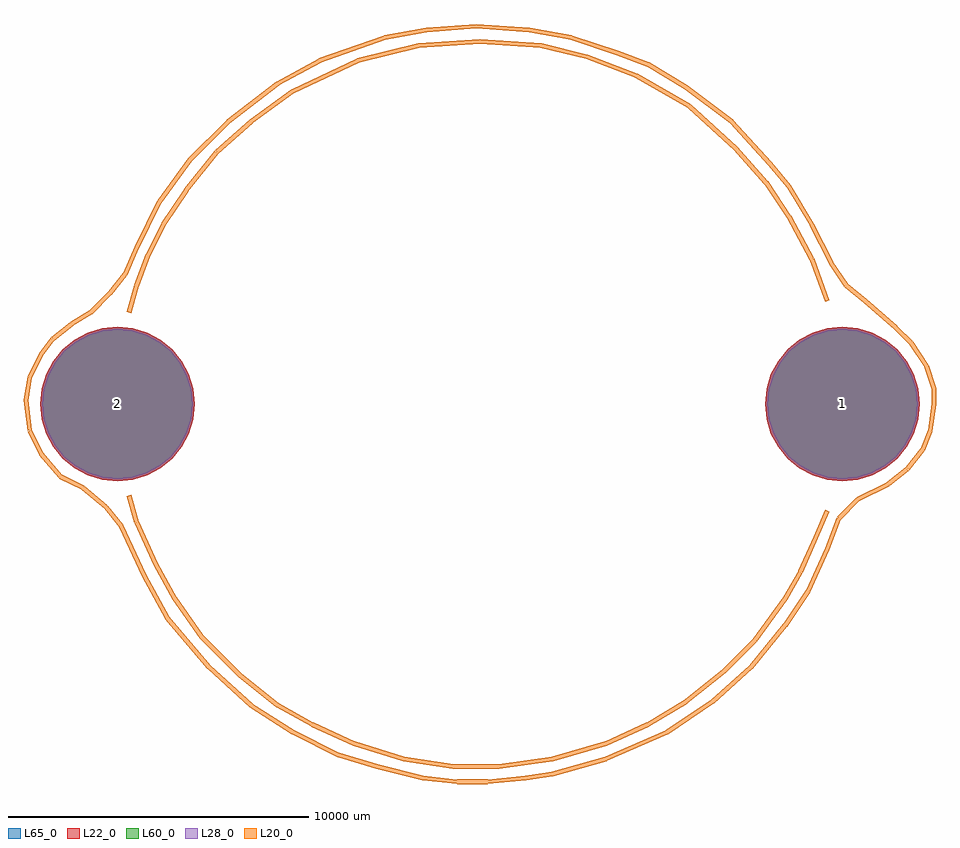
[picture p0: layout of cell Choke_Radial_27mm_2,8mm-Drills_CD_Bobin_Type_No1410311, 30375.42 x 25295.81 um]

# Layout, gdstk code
import gdstk
lib = gdstk.Library(unit=1e-6, precision=1e-09)
def P(c, l, *ps):  # polygons
    for p in ps: c.add(gdstk.Polygon(p, *l))
L20_0 = (20, 0)
L22_0 = (22, 0)
L28_0 = (28, 0)
L60_0 = (60, 0)
L65_0 = (65, 0)

choke_radial_27mm_2_8mm_ = lib.new_cell('Choke_Radial_27mm_2,8mm-Drills_CD_Bobin_Type_No1410311')
P(choke_radial_27mm_2_8mm_, L22_0, [(-9489.37,0),(-9538.86,502.48),(-9685.428,985.651),(-9923.442,1430.943),(-10243.755,1821.245),(-10634.057,2141.558),(-11079.349,2379.572),(-11562.52,2526.14),(-12065,2575.63),(-12567.48,2526.14),(-13050.651,2379.572),(-13495.943,2141.558),(-13886.245,1821.245),(-14206.558,1430.943),(-14444.572,985.651),(-14591.14,502.48),(-14640.63,0),(-14591.14,-502.48),(-14444.572,-985.651),(-14206.558,-1430.943),(-13886.245,-1821.245),(-13495.943,-2141.558),(-13050.651,-2379.572),(-12567.48,-2526.14),(-12065,-2575.63),(-11562.52,-2526.14),(-11079.349,-2379.572),(-10634.057,-2141.558),(-10243.755,-1821.245),(-9923.442,-1430.943),(-9685.428,-985.651),(-9538.86,-502.48)],
  [(14640.63,0),(14591.14,502.48),(14444.572,985.651),(14206.558,1430.943),(13886.245,1821.245),(13495.943,2141.558),(13050.651,2379.572),(12567.48,2526.14),(12065,2575.63),(11562.52,2526.14),(11079.349,2379.572),(10634.057,2141.558),(10243.755,1821.245),(9923.442,1430.943),(9685.428,985.651),(9538.86,502.48),(9489.37,0),(9538.86,-502.48),(9685.428,-985.651),(9923.442,-1430.943),(10243.755,-1821.245),(10634.057,-2141.558),(11079.349,-2379.572),(11562.52,-2526.14),(12065,-2575.63),(12567.48,-2526.14),(13050.651,-2379.572),(13495.943,-2141.558),(13886.245,-1821.245),(14206.558,-1430.943),(14444.572,-985.651),(14591.14,-502.48)])
P(choke_radial_27mm_2_8mm_, L28_0, [(-9564.37,0),(-9612.419,487.849),(-9754.719,956.95),(-9985.802,1389.276),(-10296.788,1768.212),(-10675.724,2079.198),(-11108.05,2310.281),(-11577.151,2452.581),(-12065,2500.63),(-12552.849,2452.581),(-13021.95,2310.281),(-13454.276,2079.198),(-13833.212,1768.212),(-14144.198,1389.276),(-14375.281,956.95),(-14517.581,487.849),(-14565.63,0),(-14517.581,-487.849),(-14375.281,-956.95),(-14144.198,-1389.276),(-13833.212,-1768.212),(-13454.276,-2079.198),(-13021.95,-2310.281),(-12552.849,-2452.581),(-12065,-2500.63),(-11577.151,-2452.581),(-11108.05,-2310.281),(-10675.724,-2079.198),(-10296.788,-1768.212),(-9985.802,-1389.276),(-9754.719,-956.95),(-9612.419,-487.849)],
  [(14565.63,0),(14517.581,487.849),(14375.281,956.95),(14144.198,1389.276),(13833.212,1768.212),(13454.276,2079.198),(13021.95,2310.281),(12552.849,2452.581),(12065,2500.63),(11577.151,2452.581),(11108.05,2310.281),(10675.724,2079.198),(10296.788,1768.212),(9985.802,1389.276),(9754.719,956.95),(9612.419,487.849),(9564.37,0),(9612.419,-487.849),(9754.719,-956.95),(9985.802,-1389.276),(10296.788,-1768.212),(10675.724,-2079.198),(11108.05,-2310.281),(11577.151,-2452.581),(12065,-2500.63),(12552.849,-2452.581),(13021.95,-2310.281),(13454.276,-2079.198),(13833.212,-1768.212),(14144.198,-1389.276),(14375.281,-956.95),(14517.581,-487.849)])
P(choke_radial_27mm_2_8mm_, L60_0, [(-9564.37,0),(-9612.419,487.849),(-9754.719,956.95),(-9985.802,1389.276),(-10296.788,1768.212),(-10675.724,2079.198),(-11108.05,2310.281),(-11577.151,2452.581),(-12065,2500.63),(-12552.849,2452.581),(-13021.95,2310.281),(-13454.276,2079.198),(-13833.212,1768.212),(-14144.198,1389.276),(-14375.281,956.95),(-14517.581,487.849),(-14565.63,0),(-14517.581,-487.849),(-14375.281,-956.95),(-14144.198,-1389.276),(-13833.212,-1768.212),(-13454.276,-2079.198),(-13021.95,-2310.281),(-12552.849,-2452.581),(-12065,-2500.63),(-11577.151,-2452.581),(-11108.05,-2310.281),(-10675.724,-2079.198),(-10296.788,-1768.212),(-9985.802,-1389.276),(-9754.719,-956.95),(-9612.419,-487.849)],
  [(14565.63,0),(14517.581,487.849),(14375.281,956.95),(14144.198,1389.276),(13833.212,1768.212),(13454.276,2079.198),(13021.95,2310.281),(12552.849,2452.581),(12065,2500.63),(11577.151,2452.581),(11108.05,2310.281),(10675.724,2079.198),(10296.788,1768.212),(9985.802,1389.276),(9754.719,956.95),(9612.419,487.849),(9564.37,0),(9612.419,-487.849),(9754.719,-956.95),(9985.802,-1389.276),(10296.788,-1768.212),(10675.724,-2079.198),(11108.05,-2310.281),(11577.151,-2452.581),(12065,-2500.63),(12552.849,-2452.581),(13021.95,-2310.281),(13454.276,-2079.198),(13833.212,-1768.212),(14144.198,-1389.276),(14375.281,-956.95),(14517.581,-487.849)])
P(choke_radial_27mm_2_8mm_, L65_0, [(-9489.37,0),(-9538.86,502.48),(-9685.428,985.651),(-9923.442,1430.943),(-10243.755,1821.245),(-10634.057,2141.558),(-11079.349,2379.572),(-11562.52,2526.14),(-12065,2575.63),(-12567.48,2526.14),(-13050.651,2379.572),(-13495.943,2141.558),(-13886.245,1821.245),(-14206.558,1430.943),(-14444.572,985.651),(-14591.14,502.48),(-14640.63,0),(-14591.14,-502.48),(-14444.572,-985.651),(-14206.558,-1430.943),(-13886.245,-1821.245),(-13495.943,-2141.558),(-13050.651,-2379.572),(-12567.48,-2526.14),(-12065,-2575.63),(-11562.52,-2526.14),(-11079.349,-2379.572),(-10634.057,-2141.558),(-10243.755,-1821.245),(-9923.442,-1430.943),(-9685.428,-985.651),(-9538.86,-502.48)],
  [(14640.63,0),(14591.14,502.48),(14444.572,985.651),(14206.558,1430.943),(13886.245,1821.245),(13495.943,2141.558),(13050.651,2379.572),(12567.48,2526.14),(12065,2575.63),(11562.52,2526.14),(11079.349,2379.572),(10634.057,2141.558),(10243.755,1821.245),(9923.442,1430.943),(9685.428,985.651),(9538.86,502.48),(9489.37,0),(9538.86,-502.48),(9685.428,-985.651),(9923.442,-1430.943),(10243.755,-1821.245),(10634.057,-2141.558),(11079.349,-2379.572),(11562.52,-2526.14),(12065,-2575.63),(12567.48,-2526.14),(13050.651,-2379.572),(13495.943,-2141.558),(13886.245,-1821.245),(14206.558,-1430.943),(14444.572,-985.651),(14591.14,-502.48)])
choke_radial_27mm_2_8mm_.add(gdstk.FlexPath([(15113,508),(15113,0)], 149.998, ends="flush", simple_path=True, layer=20, datatype=0))  # L20_0
choke_radial_27mm_2_8mm_.add(gdstk.FlexPath([(14859,1270),(15113,508)], 149.998, ends="flush", simple_path=True, layer=20, datatype=0))  # L20_0
choke_radial_27mm_2_8mm_.add(gdstk.FlexPath([(14351,2032),(14859,1270)], 149.998, ends="flush", simple_path=True, layer=20, datatype=0))  # L20_0
choke_radial_27mm_2_8mm_.add(gdstk.FlexPath([(13843,2540),(14351,2032)], 149.998, ends="flush", simple_path=True, layer=20, datatype=0))  # L20_0
choke_radial_27mm_2_8mm_.add(gdstk.FlexPath([(12827,3429),(13843,2540)], 149.998, ends="flush", simple_path=True, layer=20, datatype=0))  # L20_0
choke_radial_27mm_2_8mm_.add(gdstk.FlexPath([(12192,3937),(12827,3429)], 149.998, ends="flush", simple_path=True, layer=20, datatype=0))  # L20_0
choke_radial_27mm_2_8mm_.add(gdstk.FlexPath([(11684,4699),(12192,3937)], 149.998, ends="flush", simple_path=True, layer=20, datatype=0))  # L20_0
choke_radial_27mm_2_8mm_.add(gdstk.FlexPath([(11049,5969),(11684,4699)], 149.998, ends="flush", simple_path=True, layer=20, datatype=0))  # L20_0
choke_radial_27mm_2_8mm_.add(gdstk.FlexPath([(10287,7239),(11049,5969)], 149.998, ends="flush", simple_path=True, layer=20, datatype=0))  # L20_0
choke_radial_27mm_2_8mm_.add(gdstk.FlexPath([(9652,8001),(10287,7239)], 149.998, ends="flush", simple_path=True, layer=20, datatype=0))  # L20_0
choke_radial_27mm_2_8mm_.add(gdstk.FlexPath([(8382,9398),(9652,8001)], 149.998, ends="flush", simple_path=True, layer=20, datatype=0))  # L20_0
choke_radial_27mm_2_8mm_.add(gdstk.FlexPath([(6858,10541),(8382,9398)], 149.998, ends="flush", simple_path=True, layer=20, datatype=0))  # L20_0
choke_radial_27mm_2_8mm_.add(gdstk.FlexPath([(5588,11303),(6858,10541)], 149.998, ends="flush", simple_path=True, layer=20, datatype=0))  # L20_0
choke_radial_27mm_2_8mm_.add(gdstk.FlexPath([(4572,11684),(5588,11303)], 149.998, ends="flush", simple_path=True, layer=20, datatype=0))  # L20_0
choke_radial_27mm_2_8mm_.add(gdstk.FlexPath([(3048,12192),(4572,11684)], 149.998, ends="flush", simple_path=True, layer=20, datatype=0))  # L20_0
choke_radial_27mm_2_8mm_.add(gdstk.FlexPath([(1651,12446),(3048,12192)], 149.998, ends="flush", simple_path=True, layer=20, datatype=0))  # L20_0
choke_radial_27mm_2_8mm_.add(gdstk.FlexPath([(-127,12573),(1651,12446)], 149.998, ends="flush", simple_path=True, layer=20, datatype=0))  # L20_0
choke_radial_27mm_2_8mm_.add(gdstk.FlexPath([(-1778,12446),(-127,12573)], 149.998, ends="flush", simple_path=True, layer=20, datatype=0))  # L20_0
choke_radial_27mm_2_8mm_.add(gdstk.FlexPath([(-3175,12192),(-1778,12446)], 149.998, ends="flush", simple_path=True, layer=20, datatype=0))  # L20_0
choke_radial_27mm_2_8mm_.add(gdstk.FlexPath([(-5334,11430),(-3175,12192)], 149.998, ends="flush", simple_path=True, layer=20, datatype=0))  # L20_0
choke_radial_27mm_2_8mm_.add(gdstk.FlexPath([(-6731,10668),(-5334,11430)], 149.998, ends="flush", simple_path=True, layer=20, datatype=0))  # L20_0
choke_radial_27mm_2_8mm_.add(gdstk.FlexPath([(-8382,9398),(-6731,10668)], 149.998, ends="flush", simple_path=True, layer=20, datatype=0))  # L20_0
choke_radial_27mm_2_8mm_.add(gdstk.FlexPath([(-9652,8128),(-8382,9398)], 149.998, ends="flush", simple_path=True, layer=20, datatype=0))  # L20_0
choke_radial_27mm_2_8mm_.add(gdstk.FlexPath([(-10668,6731),(-9652,8128)], 149.998, ends="flush", simple_path=True, layer=20, datatype=0))  # L20_0
choke_radial_27mm_2_8mm_.add(gdstk.FlexPath([(-11430,5207),(-10668,6731)], 149.998, ends="flush", simple_path=True, layer=20, datatype=0))  # L20_0
choke_radial_27mm_2_8mm_.add(gdstk.FlexPath([(-11811,4318),(-11430,5207)], 149.998, ends="flush", simple_path=True, layer=20, datatype=0))  # L20_0
choke_radial_27mm_2_8mm_.add(gdstk.FlexPath([(-12319,3683),(-11811,4318)], 149.998, ends="flush", simple_path=True, layer=20, datatype=0))  # L20_0
choke_radial_27mm_2_8mm_.add(gdstk.FlexPath([(-12954,3048),(-12319,3683)], 149.998, ends="flush", simple_path=True, layer=20, datatype=0))  # L20_0
choke_radial_27mm_2_8mm_.add(gdstk.FlexPath([(-13589,2667),(-12954,3048)], 149.998, ends="flush", simple_path=True, layer=20, datatype=0))  # L20_0
choke_radial_27mm_2_8mm_.add(gdstk.FlexPath([(-14224,2159),(-13589,2667)], 149.998, ends="flush", simple_path=True, layer=20, datatype=0))  # L20_0
choke_radial_27mm_2_8mm_.add(gdstk.FlexPath([(-14605,1651),(-14224,2159)], 149.998, ends="flush", simple_path=True, layer=20, datatype=0))  # L20_0
choke_radial_27mm_2_8mm_.add(gdstk.FlexPath([(-14986,889),(-14605,1651)], 149.998, ends="flush", simple_path=True, layer=20, datatype=0))  # L20_0
choke_radial_27mm_2_8mm_.add(gdstk.FlexPath([(-15113,127),(-14986,889)], 149.998, ends="flush", simple_path=True, layer=20, datatype=0))  # L20_0
choke_radial_27mm_2_8mm_.add(gdstk.FlexPath([(-14986,-889),(-15113,127)], 149.998, ends="flush", simple_path=True, layer=20, datatype=0))  # L20_0
choke_radial_27mm_2_8mm_.add(gdstk.FlexPath([(-14605,-1651),(-14986,-889)], 149.998, ends="flush", simple_path=True, layer=20, datatype=0))  # L20_0
choke_radial_27mm_2_8mm_.add(gdstk.FlexPath([(-13970,-2413),(-14605,-1651)], 149.998, ends="flush", simple_path=True, layer=20, datatype=0))  # L20_0
choke_radial_27mm_2_8mm_.add(gdstk.FlexPath([(-13208,-2794),(-13970,-2413)], 149.998, ends="flush", simple_path=True, layer=20, datatype=0))  # L20_0
choke_radial_27mm_2_8mm_.add(gdstk.FlexPath([(-12446,-3429),(-13208,-2794)], 149.998, ends="flush", simple_path=True, layer=20, datatype=0))  # L20_0
choke_radial_27mm_2_8mm_.add(gdstk.FlexPath([(-11938,-4064),(-12446,-3429)], 149.998, ends="flush", simple_path=True, layer=20, datatype=0))  # L20_0
choke_radial_27mm_2_8mm_.add(gdstk.FlexPath([(-11176,-5715),(-11938,-4064)], 149.998, ends="flush", simple_path=True, layer=20, datatype=0))  # L20_0
choke_radial_27mm_2_8mm_.add(gdstk.FlexPath([(-10414,-7112),(-11176,-5715)], 149.998, ends="flush", simple_path=True, layer=20, datatype=0))  # L20_0
choke_radial_27mm_2_8mm_.add(gdstk.FlexPath([(-9017,-8763),(-10414,-7112)], 149.998, ends="flush", simple_path=True, layer=20, datatype=0))  # L20_0
choke_radial_27mm_2_8mm_.add(gdstk.FlexPath([(-7620,-10033),(-9017,-8763)], 149.998, ends="flush", simple_path=True, layer=20, datatype=0))  # L20_0
choke_radial_27mm_2_8mm_.add(gdstk.FlexPath([(-6223,-10922),(-7620,-10033)], 149.998, ends="flush", simple_path=True, layer=20, datatype=0))  # L20_0
choke_radial_27mm_2_8mm_.add(gdstk.FlexPath([(-4699,-11684),(-6223,-10922)], 149.998, ends="flush", simple_path=True, layer=20, datatype=0))  # L20_0
choke_radial_27mm_2_8mm_.add(gdstk.FlexPath([(-3429,-12065),(-4699,-11684)], 149.998, ends="flush", simple_path=True, layer=20, datatype=0))  # L20_0
choke_radial_27mm_2_8mm_.add(gdstk.FlexPath([(-1905,-12446),(-3429,-12065)], 149.998, ends="flush", simple_path=True, layer=20, datatype=0))  # L20_0
choke_radial_27mm_2_8mm_.add(gdstk.FlexPath([(-762,-12573),(-1905,-12446)], 149.998, ends="flush", simple_path=True, layer=20, datatype=0))  # L20_0
choke_radial_27mm_2_8mm_.add(gdstk.FlexPath([(254,-12573),(-762,-12573)], 149.998, ends="flush", simple_path=True, layer=20, datatype=0))  # L20_0
choke_radial_27mm_2_8mm_.add(gdstk.FlexPath([(1524,-12446),(254,-12573)], 149.998, ends="flush", simple_path=True, layer=20, datatype=0))  # L20_0
choke_radial_27mm_2_8mm_.add(gdstk.FlexPath([(2413,-12319),(1524,-12446)], 149.998, ends="flush", simple_path=True, layer=20, datatype=0))  # L20_0
choke_radial_27mm_2_8mm_.add(gdstk.FlexPath([(4191,-11811),(2413,-12319)], 149.998, ends="flush", simple_path=True, layer=20, datatype=0))  # L20_0
choke_radial_27mm_2_8mm_.add(gdstk.FlexPath([(6223,-10922),(4191,-11811)], 149.998, ends="flush", simple_path=True, layer=20, datatype=0))  # L20_0
choke_radial_27mm_2_8mm_.add(gdstk.FlexPath([(7747,-9906),(6223,-10922)], 149.998, ends="flush", simple_path=True, layer=20, datatype=0))  # L20_0
choke_radial_27mm_2_8mm_.add(gdstk.FlexPath([(9017,-8763),(7747,-9906)], 149.998, ends="flush", simple_path=True, layer=20, datatype=0))  # L20_0
choke_radial_27mm_2_8mm_.add(gdstk.FlexPath([(10160,-7366),(9017,-8763)], 149.998, ends="flush", simple_path=True, layer=20, datatype=0))  # L20_0
choke_radial_27mm_2_8mm_.add(gdstk.FlexPath([(10922,-6223),(10160,-7366)], 149.998, ends="flush", simple_path=True, layer=20, datatype=0))  # L20_0
choke_radial_27mm_2_8mm_.add(gdstk.FlexPath([(11557,-4826),(10922,-6223)], 149.998, ends="flush", simple_path=True, layer=20, datatype=0))  # L20_0
choke_radial_27mm_2_8mm_.add(gdstk.FlexPath([(11938,-3810),(11557,-4826)], 149.998, ends="flush", simple_path=True, layer=20, datatype=0))  # L20_0
choke_radial_27mm_2_8mm_.add(gdstk.FlexPath([(12573,-3175),(11938,-3810)], 149.998, ends="flush", simple_path=True, layer=20, datatype=0))  # L20_0
choke_radial_27mm_2_8mm_.add(gdstk.FlexPath([(13589,-2667),(12573,-3175)], 149.998, ends="flush", simple_path=True, layer=20, datatype=0))  # L20_0
choke_radial_27mm_2_8mm_.add(gdstk.FlexPath([(14224,-2159),(13589,-2667)], 149.998, ends="flush", simple_path=True, layer=20, datatype=0))  # L20_0
choke_radial_27mm_2_8mm_.add(gdstk.FlexPath([(14732,-1524),(14224,-2159)], 149.998, ends="flush", simple_path=True, layer=20, datatype=0))  # L20_0
choke_radial_27mm_2_8mm_.add(gdstk.FlexPath([(14986,-889),(14732,-1524)], 149.998, ends="flush", simple_path=True, layer=20, datatype=0))  # L20_0
choke_radial_27mm_2_8mm_.add(gdstk.FlexPath([(15113,0),(14986,-889)], 149.998, ends="flush", simple_path=True, layer=20, datatype=0))  # L20_0
choke_radial_27mm_2_8mm_.add(gdstk.FlexPath([(-11430,-3937),(-11684,-3048)], 149.998, ends="flush", simple_path=True, layer=20, datatype=0))  # L20_0
choke_radial_27mm_2_8mm_.add(gdstk.FlexPath([(-10795,-5334),(-11430,-3937)], 149.998, ends="flush", simple_path=True, layer=20, datatype=0))  # L20_0
choke_radial_27mm_2_8mm_.add(gdstk.FlexPath([(-10160,-6477),(-10795,-5334)], 149.998, ends="flush", simple_path=True, layer=20, datatype=0))  # L20_0
choke_radial_27mm_2_8mm_.add(gdstk.FlexPath([(-9271,-7747),(-10160,-6477)], 149.998, ends="flush", simple_path=True, layer=20, datatype=0))  # L20_0
choke_radial_27mm_2_8mm_.add(gdstk.FlexPath([(-8001,-9017),(-9271,-7747)], 149.998, ends="flush", simple_path=True, layer=20, datatype=0))  # L20_0
choke_radial_27mm_2_8mm_.add(gdstk.FlexPath([(-6731,-10033),(-8001,-9017)], 149.998, ends="flush", simple_path=True, layer=20, datatype=0))  # L20_0
choke_radial_27mm_2_8mm_.add(gdstk.FlexPath([(-5588,-10668),(-6731,-10033)], 149.998, ends="flush", simple_path=True, layer=20, datatype=0))  # L20_0
choke_radial_27mm_2_8mm_.add(gdstk.FlexPath([(-4191,-11303),(-5588,-10668)], 149.998, ends="flush", simple_path=True, layer=20, datatype=0))  # L20_0
choke_radial_27mm_2_8mm_.add(gdstk.FlexPath([(-2540,-11811),(-4191,-11303)], 149.998, ends="flush", simple_path=True, layer=20, datatype=0))  # L20_0
choke_radial_27mm_2_8mm_.add(gdstk.FlexPath([(-889,-12065),(-2540,-11811)], 149.998, ends="flush", simple_path=True, layer=20, datatype=0))  # L20_0
choke_radial_27mm_2_8mm_.add(gdstk.FlexPath([(635,-12065),(-889,-12065)], 149.998, ends="flush", simple_path=True, layer=20, datatype=0))  # L20_0
choke_radial_27mm_2_8mm_.add(gdstk.FlexPath([(2413,-11811),(635,-12065)], 149.998, ends="flush", simple_path=True, layer=20, datatype=0))  # L20_0
choke_radial_27mm_2_8mm_.add(gdstk.FlexPath([(4191,-11303),(2413,-11811)], 149.998, ends="flush", simple_path=True, layer=20, datatype=0))  # L20_0
choke_radial_27mm_2_8mm_.add(gdstk.FlexPath([(5588,-10668),(4191,-11303)], 149.998, ends="flush", simple_path=True, layer=20, datatype=0))  # L20_0
choke_radial_27mm_2_8mm_.add(gdstk.FlexPath([(6858,-9906),(5588,-10668)], 149.998, ends="flush", simple_path=True, layer=20, datatype=0))  # L20_0
choke_radial_27mm_2_8mm_.add(gdstk.FlexPath([(8128,-8890),(6858,-9906)], 149.998, ends="flush", simple_path=True, layer=20, datatype=0))  # L20_0
choke_radial_27mm_2_8mm_.add(gdstk.FlexPath([(9144,-7874),(8128,-8890)], 149.998, ends="flush", simple_path=True, layer=20, datatype=0))  # L20_0
choke_radial_27mm_2_8mm_.add(gdstk.FlexPath([(10160,-6477),(9144,-7874)], 149.998, ends="flush", simple_path=True, layer=20, datatype=0))  # L20_0
choke_radial_27mm_2_8mm_.add(gdstk.FlexPath([(10668,-5588),(10160,-6477)], 149.998, ends="flush", simple_path=True, layer=20, datatype=0))  # L20_0
choke_radial_27mm_2_8mm_.add(gdstk.FlexPath([(11176,-4445),(10668,-5588)], 149.998, ends="flush", simple_path=True, layer=20, datatype=0))  # L20_0
choke_radial_27mm_2_8mm_.add(gdstk.FlexPath([(11557,-3556),(11176,-4445)], 149.998, ends="flush", simple_path=True, layer=20, datatype=0))  # L20_0
choke_radial_27mm_2_8mm_.add(gdstk.FlexPath([(11049,4826),(11557,3429)], 149.998, ends="flush", simple_path=True, layer=20, datatype=0))  # L20_0
choke_radial_27mm_2_8mm_.add(gdstk.FlexPath([(10287,6223),(11049,4826)], 149.998, ends="flush", simple_path=True, layer=20, datatype=0))  # L20_0
choke_radial_27mm_2_8mm_.add(gdstk.FlexPath([(9525,7366),(10287,6223)], 149.998, ends="flush", simple_path=True, layer=20, datatype=0))  # L20_0
choke_radial_27mm_2_8mm_.add(gdstk.FlexPath([(8509,8509),(9525,7366)], 149.998, ends="flush", simple_path=True, layer=20, datatype=0))  # L20_0
choke_radial_27mm_2_8mm_.add(gdstk.FlexPath([(6985,9906),(8509,8509)], 149.998, ends="flush", simple_path=True, layer=20, datatype=0))  # L20_0
choke_radial_27mm_2_8mm_.add(gdstk.FlexPath([(5207,10922),(6985,9906)], 149.998, ends="flush", simple_path=True, layer=20, datatype=0))  # L20_0
choke_radial_27mm_2_8mm_.add(gdstk.FlexPath([(3556,11557),(5207,10922)], 149.998, ends="flush", simple_path=True, layer=20, datatype=0))  # L20_0
choke_radial_27mm_2_8mm_.add(gdstk.FlexPath([(2032,11938),(3556,11557)], 149.998, ends="flush", simple_path=True, layer=20, datatype=0))  # L20_0
choke_radial_27mm_2_8mm_.add(gdstk.FlexPath([(0,12065),(2032,11938)], 149.998, ends="flush", simple_path=True, layer=20, datatype=0))  # L20_0
choke_radial_27mm_2_8mm_.add(gdstk.FlexPath([(-2032,11938),(0,12065)], 149.998, ends="flush", simple_path=True, layer=20, datatype=0))  # L20_0
choke_radial_27mm_2_8mm_.add(gdstk.FlexPath([(-4064,11430),(-2032,11938)], 149.998, ends="flush", simple_path=True, layer=20, datatype=0))  # L20_0
choke_radial_27mm_2_8mm_.add(gdstk.FlexPath([(-6223,10414),(-4064,11430)], 149.998, ends="flush", simple_path=True, layer=20, datatype=0))  # L20_0
choke_radial_27mm_2_8mm_.add(gdstk.FlexPath([(-7620,9398),(-6223,10414)], 149.998, ends="flush", simple_path=True, layer=20, datatype=0))  # L20_0
choke_radial_27mm_2_8mm_.add(gdstk.FlexPath([(-8763,8382),(-7620,9398)], 149.998, ends="flush", simple_path=True, layer=20, datatype=0))  # L20_0
choke_radial_27mm_2_8mm_.add(gdstk.FlexPath([(-9779,7112),(-8763,8382)], 149.998, ends="flush", simple_path=True, layer=20, datatype=0))  # L20_0
choke_radial_27mm_2_8mm_.add(gdstk.FlexPath([(-10541,5969),(-9779,7112)], 149.998, ends="flush", simple_path=True, layer=20, datatype=0))  # L20_0
choke_radial_27mm_2_8mm_.add(gdstk.FlexPath([(-11049,4953),(-10541,5969)], 149.998, ends="flush", simple_path=True, layer=20, datatype=0))  # L20_0
choke_radial_27mm_2_8mm_.add(gdstk.FlexPath([(-11430,3937),(-11049,4953)], 149.998, ends="flush", simple_path=True, layer=20, datatype=0))  # L20_0
choke_radial_27mm_2_8mm_.add(gdstk.FlexPath([(-11684,3048),(-11430,3937)], 149.998, ends="flush", simple_path=True, layer=20, datatype=0))  # L20_0
choke_radial_27mm_2_8mm_.add(gdstk.Label('2', (-12065,0), layer=28, texttype=0))
choke_radial_27mm_2_8mm_.add(gdstk.Label('1', (12065,0), layer=28, texttype=0))
choke_radial_27mm_2_8mm_.add(gdstk.Label('type', (1905,-14986), layer=9, texttype=0))
choke_radial_27mm_2_8mm_.add(gdstk.Label('devicename', (254,15367), layer=9, texttype=0))

lib.write_gds('Choke_Radial_27mm_2_8mm-Drills_CD_Bobin_Type_No1410311.gds')
